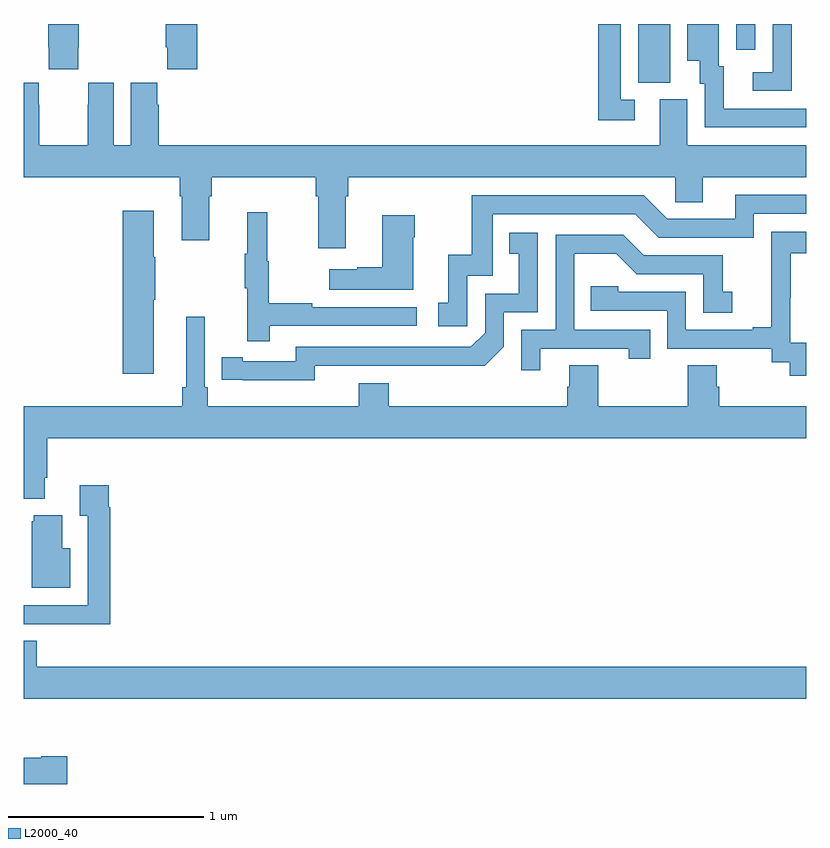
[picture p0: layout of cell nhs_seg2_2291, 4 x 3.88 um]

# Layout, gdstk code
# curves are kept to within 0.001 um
import gdstk
lib = gdstk.Library(unit=1e-6, precision=1e-09)
def R(c, l, rs):  # rectangles x0, y0, x1, y1
    for r in rs: c.add(gdstk.rectangle(r[:2], r[2:], *l))
def P(c, l, *ps):  # polygons
    for p in ps: c.add(gdstk.Polygon(p, *l))
L2000_40 = (2000, 40)

nhs_seg2_2291 = lib.new_cell('nhs_seg2_2291')
R(nhs_seg2_2291, L2000_40, [(234.14,601.501,234.304,601.8), (234.642,601.668,234.738,601.8)])
P(nhs_seg2_2291, L2000_40, [(231.887,601.8),(231.727,601.8),(231.727,601.681),(231.733,601.681),(231.733,601.569),(231.887,601.569)],
  [(231.279,601.681),(231.282,601.681),(231.282,601.8),(231.127,601.8),(231.127,601.681),(231.129,601.681),(231.129,601.569),(231.279,601.569)],
  [(234.924,601.8),(234.828,601.8),(234.828,601.554),(234.726,601.554),(234.726,601.458),(234.924,601.458)],
  [(234.124,601.413),(234.051,601.413),(234.051,601.8),(233.935,601.8),(233.935,601.308),(234.124,601.308)],
  [(235,601.368),(234.577,601.368),(234.577,601.584),(234.553,601.584),(234.553,601.8),(234.392,601.8),(234.392,601.613),(234.455,601.613),(234.455,601.494),(234.48,601.494),(234.48,601.272),(235,601.272)],
  [(234.33,600.889),(234.469,600.889),(234.469,601.016),(235,601.016),(235,601.18),(234.391,601.18),(234.391,601.416),(234.251,601.416),(234.251,601.18),(231.692,601.18),(231.692,601.388),(231.682,601.388),(231.682,601.501),(231.548,601.501),(231.548,601.18),(231.46,601.18),(231.46,601.501),(231.33,601.501),(231.33,601.388),(231.329,601.388),(231.329,601.18),(231.079,601.18),(231.079,601.388),(231.078,601.388),(231.078,601.501),(231,601.501),(231,601.016),(231.797,601.016),(231.797,600.92),(231.809,600.92),(231.809,600.696),(231.949,600.696),(231.949,600.92),(231.962,600.92),(231.962,601.016),(232.493,601.016),(232.493,600.92),(232.505,600.92),(232.505,600.654),(232.645,600.654),(232.645,600.92),(232.658,600.92),(232.658,601.016),(234.33,601.016)],
  [(233.268,600.513),(233.397,600.513),(233.397,600.828),(234.126,600.828),(234.246,600.708),(234.732,600.708),(234.732,600.831),(235,600.831),(235,600.927),(234.635,600.927),(234.635,600.804),(234.288,600.804),(234.168,600.924),(233.289,600.924),(233.289,600.622),(233.171,600.622),(233.171,600.375),(233.118,600.375),(233.118,600.255),(233.268,600.255)],
  [(231.664,600.391),(231.672,600.391),(231.672,600.608),(231.664,600.608),(231.664,600.847),(231.506,600.847),(231.506,600.012),(231.664,600.012)],
  [(232.259,600.258),(233.008,600.258),(233.008,600.354),(232.475,600.354),(232.475,600.374),(232.252,600.374),(232.252,600.588),(232.244,600.588),(232.244,600.838),(232.142,600.838),(232.142,600.625),(232.131,600.625),(232.131,600.451),(232.142,600.451),(232.142,600.18),(232.259,600.18)],
  [(232.99,600.71),(232.998,600.71),(232.998,600.823),(232.832,600.823),(232.832,600.557),(232.706,600.557),(232.706,600.547),(232.563,600.547),(232.563,600.443),(232.99,600.443)],
  [(235,600.171),(234.918,600.171),(234.918,600.401),(234.92,600.401),(234.92,600.629),(235,600.629),(235,600.739),(234.82,600.739),(234.82,600.533),(234.821,600.533),(234.821,600.25),(234.725,600.25),(234.725,600.237),(234.384,600.237),(234.384,600.432),(234.039,600.432),(234.039,600.459),(233.899,600.459),(233.899,600.336),(234.288,600.336),(234.288,600.141),(234.822,600.141),(234.822,600.073),(234.915,600.073),(234.915,600.003),(235,600.003)],
  [(232.488,600.054),(233.356,600.053),(233.454,600.15),(233.454,600.327),(233.628,600.327),(233.628,600.733),(233.482,600.733),(233.482,600.627),(233.531,600.627),(233.531,600.423),(233.358,600.423),(233.358,600.222),(233.286,600.15),(232.392,600.15),(232.392,600.078),(232.12,600.078),(232.12,600.098),(232.012,600.098),(232.012,599.982),(232.488,599.981)],
  [(233.641,600.141),(234.092,600.141),(234.092,600.09),(234.203,600.09),(234.203,600.237),(233.814,600.237),(233.814,600.626),(234.028,600.626),(234.132,600.522),(234.474,600.522),(234.474,600.324),(234.622,600.324),(234.622,600.433),(234.573,600.433),(234.573,600.618),(234.169,600.618),(234.064,600.723),(233.718,600.723),(233.718,600.237),(233.544,600.237),(233.544,600.03),(233.641,600.03)],
  [(231.109,599.482),(231.122,599.482),(231.122,599.684),(235,599.684),(235,599.848),(234.554,599.848),(234.554,599.946),(234.541,599.946),(234.541,600.056),(234.394,600.056),(234.394,599.848),(233.937,599.848),(233.937,600.056),(233.789,600.056),(233.789,599.946),(233.777,599.946),(233.777,599.848),(232.865,599.848),(232.865,599.965),(232.712,599.965),(232.712,599.848),(231.941,599.848),(231.941,599.944),(231.927,599.944),(231.927,600.304),(231.83,600.304),(231.83,599.944),(231.811,599.944),(231.811,599.848),(231,599.848),(231,599.375),(231.109,599.375)],
  [(231.443,599.33),(231.436,599.33),(231.436,599.443),(231.287,599.443),(231.287,599.287),(231.327,599.287),(231.327,598.83),(231,598.83),(231,598.734),(231.151,598.734),(231.151,598.733),(231.443,598.733)],
  [(231.238,599.122),(231.199,599.122),(231.199,599.29),(231.053,599.29),(231.053,599.259),(231.041,599.259),(231.041,598.919),(231.238,598.919)],
  [(235,598.516),(231.068,598.516),(231.068,598.649),(231,598.649),(231,598.352),(235,598.352)],
  [(231.223,598.059),(231.09,598.059),(231.09,598.051),(231,598.051),(231,597.917),(231.223,597.917)])

lib.write_gds('nhs_seg2_2291.gds')
